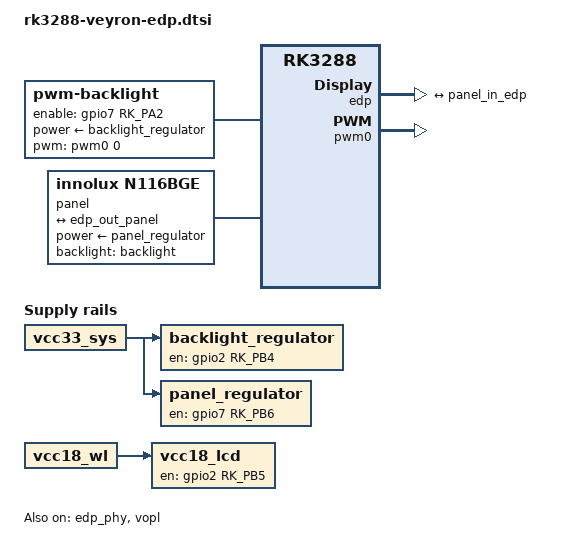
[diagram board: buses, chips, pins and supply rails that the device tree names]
// SPDX-License-Identifier: (GPL-2.0+ OR MIT)
/*
 * Google Veyron (and derivatives) fragment for the edp displays
 *
 * Copyright 2019 Google LLC
 */

/ {
	backlight_regulator: backlight-regulator {
		compatible = "regulator-fixed";
		enable-active-high;
		gpio = <&gpio2 RK_PB4 GPIO_ACTIVE_HIGH>;
		pinctrl-names = "default";
		pinctrl-0 = <&bl_pwr_en>;
		regulator-name = "backlight_regulator";
		vin-supply = <&vcc33_sys>;
		startup-delay-us = <15000>;
	};

	panel_regulator: panel-regulator {
		compatible = "regulator-fixed";
		enable-active-high;
		gpio = <&gpio7 RK_PB6 GPIO_ACTIVE_HIGH>;
		pinctrl-names = "default";
		pinctrl-0 = <&lcd_enable_h>;
		regulator-name = "panel_regulator";
		vin-supply = <&vcc33_sys>;
	};

	vcc18_lcd: vcc18-lcd {
		compatible = "regulator-fixed";
		enable-active-high;
		gpio = <&gpio2 RK_PB5 GPIO_ACTIVE_HIGH>;
		pinctrl-names = "default";
		pinctrl-0 = <&avdd_1v8_disp_en>;
		regulator-name = "vcc18_lcd";
		regulator-always-on;
		regulator-boot-on;
		vin-supply = <&vcc18_wl>;
	};

	backlight: backlight {
		compatible = "pwm-backlight";
		brightness-levels = <
			  0   1   2   3   4   5   6   7
			  8   9  10  11  12  13  14  15
			 16  17  18  19  20  21  22  23
			 24  25  26  27  28  29  30  31
			 32  33  34  35  36  37  38  39
			 40  41  42  43  44  45  46  47
			 48  49  50  51  52  53  54  55
			 56  57  58  59  60  61  62  63
			 64  65  66  67  68  69  70  71
			 72  73  74  75  76  77  78  79
			 80  81  82  83  84  85  86  87
			 88  89  90  91  92  93  94  95
			 96  97  98  99 100 101 102 103
			104 105 106 107 108 109 110 111
			112 113 114 115 116 117 118 119
			120 121 122 123 124 125 126 127
			128 129 130 131 132 133 134 135
			136 137 138 139 140 141 142 143
			144 145 146 147 148 149 150 151
			152 153 154 155 156 157 158 159
			160 161 162 163 164 165 166 167
			168 169 170 171 172 173 174 175
			176 177 178 179 180 181 182 183
			184 185 186 187 188 189 190 191
			192 193 194 195 196 197 198 199
			200 201 202 203 204 205 206 207
			208 209 210 211 212 213 214 215
			216 217 218 219 220 221 222 223
			224 225 226 227 228 229 230 231
			232 233 234 235 236 237 238 239
			240 241 242 243 244 245 246 247
			248 249 250 251 252 253 254 255>;
		default-brightness-level = <128>;
		enable-gpios = <&gpio7 RK_PA2 GPIO_ACTIVE_HIGH>;
		pinctrl-names = "default";
		pinctrl-0 = <&bl_en>;
		pwms = <&pwm0 0 1000000 0>;
		post-pwm-on-delay-ms = <10>;
		pwm-off-delay-ms = <10>;
		power-supply = <&backlight_regulator>;
	};

	panel: panel {
		compatible = "innolux,n116bge", "simple-panel";
		status = "okay";
		power-supply = <&panel_regulator>;
		backlight = <&backlight>;

		panel-timing {
			clock-frequency = <74250000>;
			hactive = <1366>;
			hfront-porch = <136>;
			hback-porch = <60>;
			hsync-len = <30>;
			hsync-active = <0>;
			vactive = <768>;
			vfront-porch = <8>;
			vback-porch = <12>;
			vsync-len = <12>;
			vsync-active = <0>;
		};

		ports {
			panel_in: port {
				panel_in_edp: endpoint {
					remote-endpoint = <&edp_out_panel>;
				};
			};
		};
	};
};

&edp {
	status = "okay";

	pinctrl-names = "default";
	pinctrl-0 = <&edp_hpd>;

	ports {
		edp_out: port@1 {
			reg = <1>;
			#address-cells = <1>;
			#size-cells = <0>;
			edp_out_panel: endpoint@0 {
				reg = <0>;
				remote-endpoint = <&panel_in_edp>;
			};
		};
	};
};

&edp_phy {
	status = "okay";
};

&pwm0 {
	status = "okay";
};

&vopl {
	status = "okay";
};

&vopl_mmu {
	status = "okay";
};

&pinctrl {
	backlight {
		bl_pwr_en: bl_pwr_en {
			rockchip,pins = <2 RK_PB4 RK_FUNC_GPIO &pcfg_pull_none>;
		};

		bl_en: bl-en {
			rockchip,pins = <7 RK_PA2 RK_FUNC_GPIO &pcfg_pull_none>;
		};
	};

	lcd {
		lcd_enable_h: lcd-en {
			rockchip,pins = <7 RK_PB6 RK_FUNC_GPIO &pcfg_pull_none>;
		};

		avdd_1v8_disp_en: avdd-1v8-disp-en {
			rockchip,pins = <2 RK_PB5 RK_FUNC_GPIO &pcfg_pull_none>;
		};
	};
};
